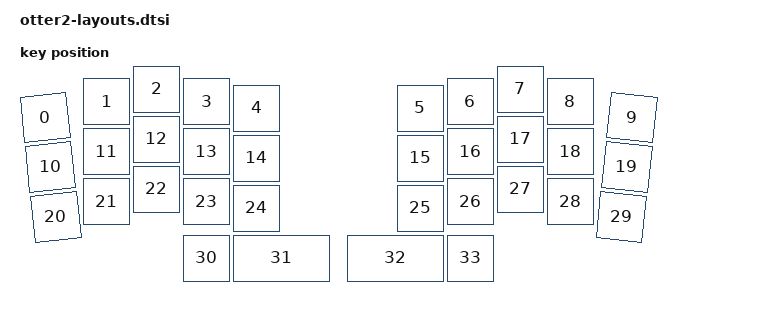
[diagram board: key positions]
#include <physical_layouts.dtsi>

/ {
    physical_layout_otter2: physical_layout_otter2 {
        compatible = "zmk,physical-layout";
        display-name = "otter2";
        keys  //                     w   h    x    y     rot    rx    ry
            = <&key_physical_attrs 100 100    5   57  (-600)    55   107>
            , <&key_physical_attrs 100 100  128   25       0     0     0>
            , <&key_physical_attrs 100 100  228    0       0     0     0>
            , <&key_physical_attrs 100 100  328   25       0     0     0>
            , <&key_physical_attrs 100 100  428   38       0     0     0>
            , <&key_physical_attrs 100 100  755   38       0     0     0>
            , <&key_physical_attrs 100 100  855   25       0     0     0>
            , <&key_physical_attrs 100 100  955    0       0     0     0>
            , <&key_physical_attrs 100 100 1055   25       0     0     0>
            , <&key_physical_attrs 100 100 1178   57     600  1228   107>
            , <&key_physical_attrs 100 100   15  156  (-600)    65   206>
            , <&key_physical_attrs 100 100  128  125       0     0     0>
            , <&key_physical_attrs 100 100  228  100       0     0     0>
            , <&key_physical_attrs 100 100  328  125       0     0     0>
            , <&key_physical_attrs 100 100  428  138       0     0     0>
            , <&key_physical_attrs 100 100  755  138       0     0     0>
            , <&key_physical_attrs 100 100  855  125       0     0     0>
            , <&key_physical_attrs 100 100  955  100       0     0     0>
            , <&key_physical_attrs 100 100 1055  125       0     0     0>
            , <&key_physical_attrs 100 100 1168  156     600  1218   206>
            , <&key_physical_attrs 100 100   26  256  (-600)    76   306>
            , <&key_physical_attrs 100 100  128  225       0     0     0>
            , <&key_physical_attrs 100 100  228  200       0     0     0>
            , <&key_physical_attrs 100 100  328  225       0     0     0>
            , <&key_physical_attrs 100 100  428  238       0     0     0>
            , <&key_physical_attrs 100 100  755  238       0     0     0>
            , <&key_physical_attrs 100 100  855  225       0     0     0>
            , <&key_physical_attrs 100 100  955  200       0     0     0>
            , <&key_physical_attrs 100 100 1055  225       0     0     0>
            , <&key_physical_attrs 100 100 1157  256     600  1207   306>
            , <&key_physical_attrs 100 100  328  338       0     0     0>
            , <&key_physical_attrs 200 100  428  338       0     0     0>
            , <&key_physical_attrs 200 100  655  338       0     0     0>
            , <&key_physical_attrs 100 100  855  338       0     0     0>
            ;
    };
};
